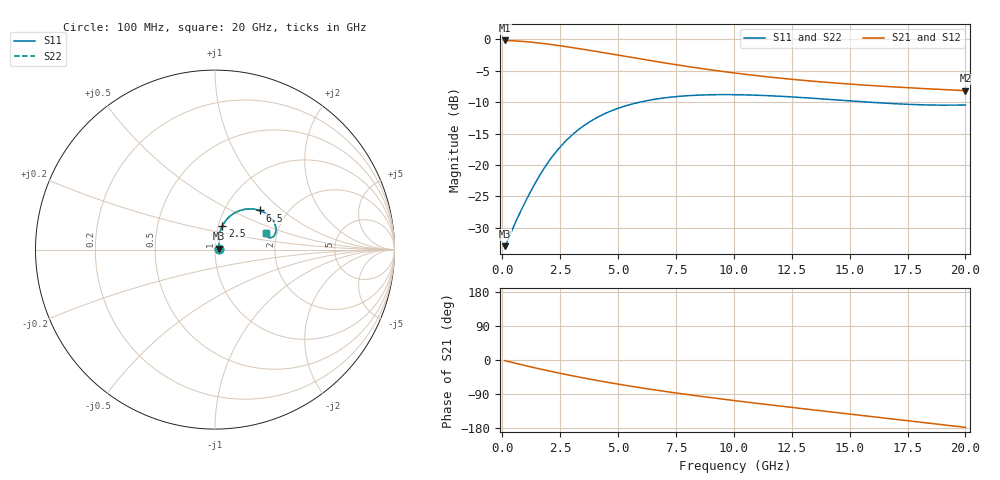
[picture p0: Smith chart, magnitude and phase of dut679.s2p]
! Touchstone file exported from HFSS 2024.1.0
!  File:  C:/UserFiles/LocalFiles/RDL_TSV_Batchsim/temp_RDL_TSV_679_1779815902.aedt
!  Generated:  01:35:20 AM May 27, 2026
!  Design:  RDL_TSV
!  Project:  temp_RDL_TSV_679_1779815902
!  Setup:  Setup1
!  Solution:  Sweep
! Variables:
!  dtsv = 8.56um
!  hbump = 3um
!  htsv = 57.65um
!  ldown = 347.76um
!  lrdl = 398.28um
!  p = 40
!  p1 = 48.77um
!  rhole = 10um
!  subl = 2636.4um
!  t = 450um
!  tdown = 3.27um
!  trdl = 2.09um
!  viad = 10um
!  wdown = 10.97um
!  wrdl = 23.69um
!  xbump = 18um
# GHz S MA R 50.000000
! Terminal data exported
! Port[1] = TM1_1_T1
! Port[2] = TM1_4_T1
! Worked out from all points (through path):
!   200 points, 100 MHz to 20 GHz, reference 50 ohm
!   highest |S21| = -0.20 dB at 100 MHz (marker M1); lowest = -8.2 dB at 20 GHz (marker M2)
!   group delay of S21, straight-line fit = 23.2 ps
!   lowest |S11| = -32.9 dB at 100 MHz (marker M3), VSWR 1.05, Z = 52.3 + j0.51 ohm
!   |S11| at or under -10 dB: start of sweep to 5.94 GHz; 15.8 GHz to end of sweep
!   |S22| runs from -32.9 to -8.8 dB; largest |S21 - S12| = 8.1e-15
!   S11 on the Smith chart (normalised r, x): 100 MHz: 1.05, +0.01; 2.5 GHz: 1.05, +0.28; 6.5 GHz: 1.46, +0.71; 20 GHz: 1.76, +0.35
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0.1  0.02264 12.4  0.9777 -1.5  0.9777 -1.5  0.02264 12.4
! Gamma 0 0 0 0
! Port Impedance 50 0 50 0
0.2  0.02439 23.3  0.9767 -3.1  0.9767 -3.1  0.0244 23.3
0.7  0.03949 53.4  0.9662 -10.6  0.9662 -10.6  0.0395 53.4
1.4  0.07063 70.5  0.9412 -20.6  0.9412 -20.6  0.07062 70.4
1.9  0.09995 73.9  0.9181 -27.4  0.9181 -27.4  0.09991 73.8
2.5  0.1392 72.8  0.887 -35.2  0.887 -35.2  0.1391 72.7
3  0.1724 69.8  0.8594 -41.3  0.8594 -41.3  0.1722 69.7
3.5  0.2041 65.8  0.8312 -47.3  0.8312 -47.3  0.2039 65.8
4.2  0.2443 59.8  0.7917 -55.2  0.7917 -55.2  0.244 59.7
4.9  0.2781 53.7  0.753 -62.6  0.753 -62.6  0.2778 53.6
5.7  0.3087 47.2  0.7109 -70.6  0.7109 -70.6  0.3083 47.1
6.5  0.3312 41.2  0.6716 -78.2  0.6716 -78.2  0.3308 41.1
6.8  0.3378 39.1  0.6577 -80.9  0.6577 -80.9  0.3374 39.0
7.6  0.3511 34.0  0.6231 -87.9  0.6231 -87.9  0.3506 33.9
8.4  0.3589 29.5  0.592 -94.5  0.592 -94.5  0.3584 29.4
10.1  0.3622 21.9  0.5369 -107.7  0.5369 -107.7  0.3617 21.8
11.7  0.3543 16.7  0.4968 -119.4  0.4968 -119.4  0.3538 16.6
13.4  0.3395 13.4  0.464 -131.4  0.464 -131.4  0.339 13.2
15  0.3237 12.0  0.4401 -142.6  0.4401 -142.6  0.3232 11.9
16.7  0.3089 12.6  0.4199 -154.5  0.4199 -154.5  0.3084 12.4
18.4  0.3002 14.8  0.4034 -166.4  0.4034 -166.4  0.2997 14.6
20  0.3003 17.7  0.39 -177.7  0.39 -177.7  0.2997 17.5
